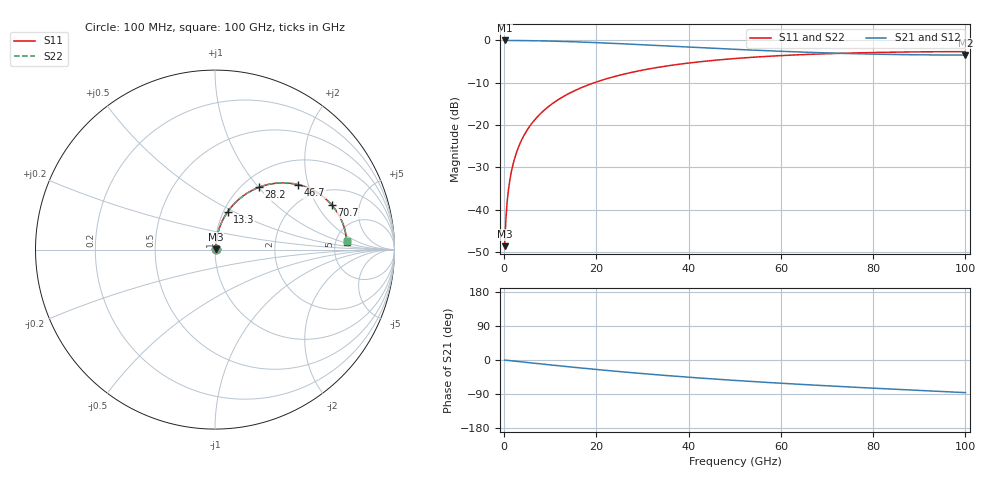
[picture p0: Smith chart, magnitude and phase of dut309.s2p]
! Touchstone file exported from HFSS 2026.1.0
!  File:  C:/ffzhzh/LocalFiles/Ansys_Project_Files/temp_train_RDL_309_1783502505_41296.aedt
!  Generated:  05:23:03 PM Jul  8, 2026
!  Design:  RDL
!  Project:  temp_train_RDL_309_1783502505_41296
! Variables:
!  h_bsmrdl = 2um
!  h_ox = 20um
!  h_rdl = 5um
!  h_sub = 80um
!  h_tmrdl = 2.32um
!  h_tsv = 80um
!  h_via = 3um
!  l_bsmrdl = 300um
!  l_sub = 656.07um
!  l_tmrdl = 256.07um
!  m_sub = 200um
!  pitch = 55.86um
!  r_tsv = 6um
!  s_tmrdl = 10um
!  w_bsmrdl = 18um
!  w_sub = 500um
!  w_tmrdl = 13.05um
!  x_tsv_center1 = 262.595um
!  x_tsv_center2 = 580.595um
!  x_tsv_center3 = 849.715um
!  x_tsv_center4 = 1167.715um
!  x_tsv_center5 = 1436.835um
!  x_tsv_center6 = 1754.835um
# GHz S MA R 50.000000
! Terminal data exported
! Port[1] = TM_RDL1_1_T1
! Port[2] = TM_RDL1_1_T2
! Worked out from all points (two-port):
!   1000 points, 100 MHz to 100 GHz, reference 50 ohm
!   highest |S21| = -0.03 dB at 100 MHz (marker M1); lowest = -3.5 dB at 100 GHz (marker M2)
!   |S21| within 3 dB of the highest: start of sweep to 71.68 GHz
!   lowest |S11| = -48.7 dB at 100 MHz (marker M3), VSWR 1.01, Z = 50.3 + j0.183 ohm
!   |S11| at or under -10 dB: start of sweep to 19.59 GHz
!   |S22| runs from -48.7 to -2.7 dB; largest |S21 - S12| = 4e-15
!   S11 on the Smith chart (normalised r, x): 100 MHz: 1.01, +0.00; 13.3 GHz: 1.05, +0.47; 28.2 GHz: 1.19, +1.00; 46.7 GHz: 1.57, +1.73; 70.7 GHz: 2.83, +2.71; 100 GHz: 6.32, +1.19
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0.1  0.003689 29.6  0.9968 -0.1  0.9968 -0.1  0.003689 29.6
! Gamma 0 0 0 0
! Port Impedance 50 0 50 0
0.4  0.007989 65.0  0.9967 -0.5  0.9967 -0.5  0.007989 65.0
0.9  0.01651 76.4  0.9963 -1.2  0.9963 -1.2  0.01651 76.4
1.1  0.01995 78.0  0.9962 -1.5  0.9962 -1.5  0.01995 78.1
1.4  0.02512 79.6  0.996 -1.9  0.996 -1.9  0.02512 79.6
1.8  0.03203 80.8  0.9957 -2.4  0.9957 -2.4  0.03203 80.8
2.3  0.04068 81.5  0.9953 -3.0  0.9953 -3.0  0.04068 81.5
3.5  0.06143 81.6  0.994 -4.6  0.994 -4.6  0.06143 81.6
5.2  0.09066 80.4  0.9915 -6.8  0.9915 -6.8  0.09066 80.4
7.4  0.128 78.2  0.987 -9.6  0.987 -9.6  0.128 78.2
10.1  0.1727 75.1  0.9797 -13.1  0.9797 -13.1  0.1727 75.2
13.3  0.2237 71.4  0.9686 -17.1  0.9686 -17.1  0.2237 71.4
16.8  0.2765 67.3  0.9542 -21.3  0.9542 -21.3  0.2765 67.3
22  0.3487 61.4  0.9294 -27.3  0.9294 -27.3  0.3487 61.5
28.2  0.4246 54.8  0.8968 -34.0  0.8968 -34.0  0.4246 54.9
33.4  0.4797 49.6  0.8684 -39.3  0.8684 -39.3  0.4797 49.7
46.7  0.5886 37.9  0.7991 -51.2  0.7991 -51.2  0.5886 38.0
50.1  0.6099 35.1  0.7832 -53.9  0.7832 -53.9  0.6099 35.3
66.7  0.6849 23.3  0.7197 -65.9  0.7197 -65.9  0.6849 23.5
70.7  0.697 20.7  0.7082 -68.6  0.7082 -68.6  0.697 20.9
83.4  0.7235 12.9  0.6818 -76.4  0.6818 -76.4  0.7235 13.2
100  0.7352 3.4  0.6694 -86.1  0.6694 -86.1  0.7351 3.6
